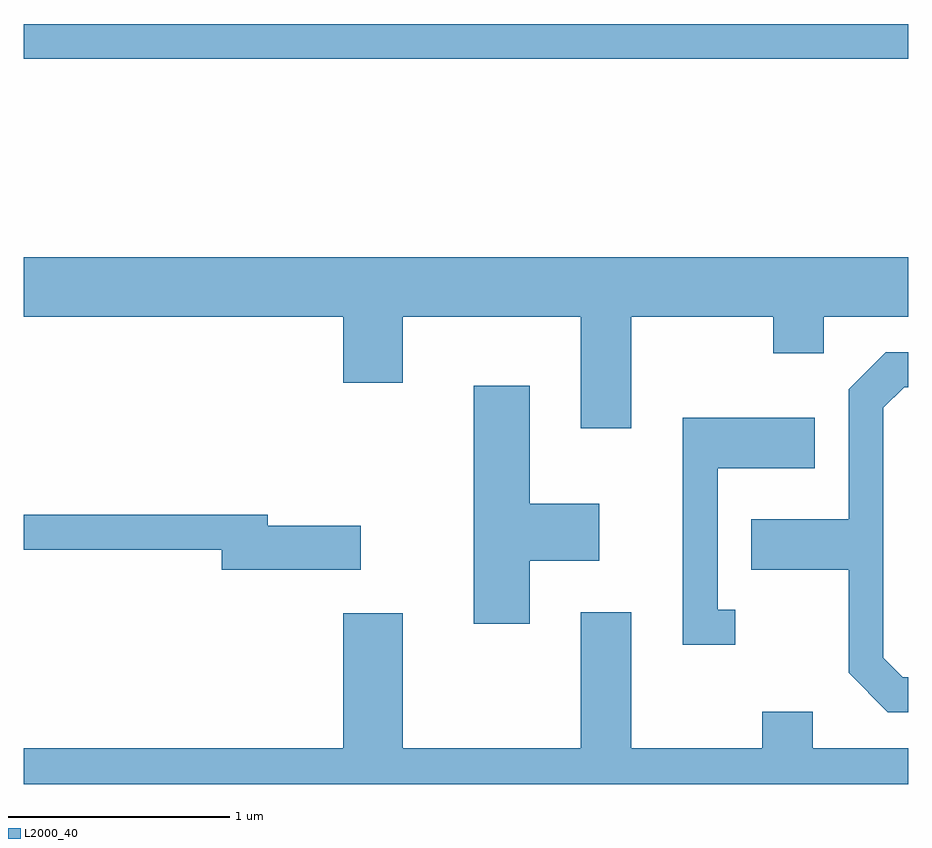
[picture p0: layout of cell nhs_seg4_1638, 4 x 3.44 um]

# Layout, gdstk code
import gdstk
lib = gdstk.Library(unit=1e-6, precision=1e-09)
def R(c, l, rs):  # rectangles x0, y0, x1, y1
    for r in rs: c.add(gdstk.rectangle(r[:2], r[2:], *l))
def P(c, l, *ps):  # polygons
    for p in ps: c.add(gdstk.Polygon(p, *l))
L2000_40 = (2000, 40)

nhs_seg4_1638 = lib.new_cell('nhs_seg4_1638')
R(nhs_seg4_1638, L2000_40, [(233.611,1269.261,237.611,1269.419)])
P(nhs_seg4_1638, L2000_40, [(233.611,1268.096),(235.056,1268.096),(235.056,1267.796),(235.324,1267.796),(235.324,1268.096),(236.131,1268.096),(236.131,1267.591),(236.359,1267.591),(236.359,1268.096),(237.001,1268.096),(237.001,1267.931),(237.229,1267.931),(237.229,1268.096),(237.611,1268.096),(237.611,1268.364),(233.611,1268.364)],
  [(237.611,1266.464),(237.587,1266.464),(237.499,1266.552),(237.499,1267.684),(237.592,1267.776),(237.611,1267.776),(237.611,1267.934),(237.509,1267.934),(237.341,1267.767),(237.341,1267.179),(236.901,1267.179),(236.901,1266.951),(237.341,1266.951),(237.341,1266.484),(237.519,1266.306),(237.611,1266.306)],
  [(235.899,1266.991),(236.214,1266.991),(236.214,1267.249),(235.899,1267.249),(235.899,1267.784),(235.646,1267.784),(235.646,1266.706),(235.899,1266.706)],
  [(236.828,1266.769),(236.749,1266.769),(236.749,1267.411),(237.189,1267.411),(237.189,1267.639),(236.591,1267.639),(236.591,1266.611),(236.828,1266.611)],
  [(235.134,1267.149),(234.714,1267.149),(234.714,1267.199),(233.611,1267.199),(233.611,1267.041),(234.506,1267.041),(234.506,1266.951),(235.134,1266.951)],
  [(237.611,1266.144),(237.179,1266.144),(237.179,1266.309),(236.951,1266.309),(236.951,1266.144),(236.359,1266.144),(236.359,1266.759),(236.131,1266.759),(236.131,1266.144),(235.324,1266.144),(235.324,1266.754),(235.056,1266.754),(235.056,1266.144),(233.611,1266.144),(233.611,1265.982),(237.611,1265.982)])

lib.write_gds('nhs_seg4_1638.gds')
